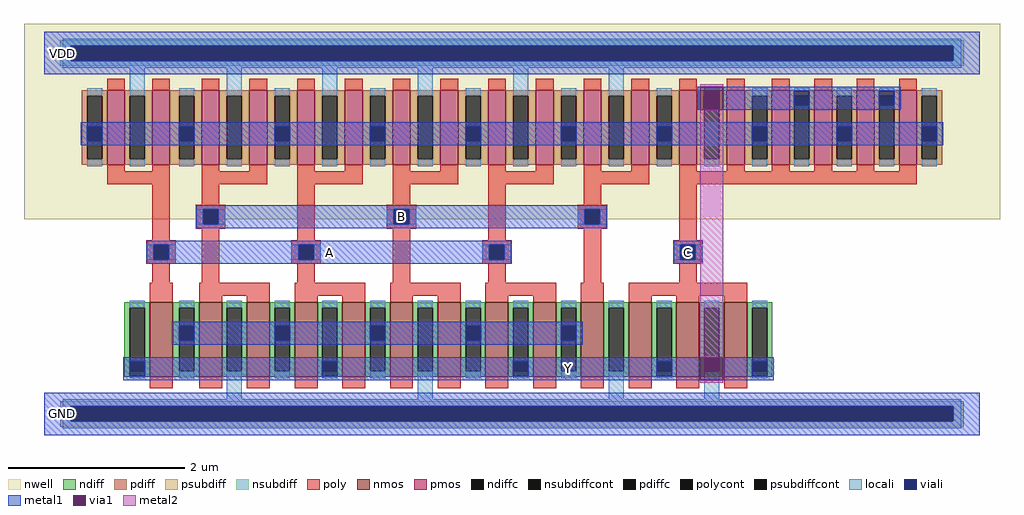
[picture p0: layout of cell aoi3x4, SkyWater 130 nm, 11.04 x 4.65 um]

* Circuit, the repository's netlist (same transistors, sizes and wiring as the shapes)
** sch_path: /foss/designs/aoi3x4.sch
.subckt aoi3x4 VDD GND A B C Y
*.PININFO VDD:B GND:B A:I B:I C:I Y:O
XM2 net2 A VDD VDD sky130_fd_pr__pfet_01v8 L=0.2 W=5.04 nf=6
XM3 net2 B VDD VDD sky130_fd_pr__pfet_01v8 L=0.2 W=5.04 nf=6
XM4 Y A net1 GND sky130_fd_pr__nfet_01v8 L=0.26 W=4.2 nf=5
XM5 Y C GND GND sky130_fd_pr__nfet_01v8 L=0.26 W=2.52 nf=3
XM1 Y C net2 VDD sky130_fd_pr__pfet_01v8 L=0.2 W=5.04 nf=6
XM6 net1 B GND GND sky130_fd_pr__nfet_01v8 L=0.26 W=4.2 nf=5
.ends

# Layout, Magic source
magic
tech sky130A
magscale 1 2
<< nwell >>
rect -46 440 2162 882
<< nmos >>
rect 238 84 290 252
rect 350 84 402 252
rect 458 84 510 252
rect 566 84 618 252
rect 674 84 726 252
rect 782 84 834 252
rect 890 84 942 252
rect 998 84 1050 252
rect 1106 84 1158 252
rect 1214 84 1266 252
rect 1322 84 1374 252
rect 1430 84 1482 252
rect 1538 84 1590 252
<< pmos >>
rect 142 564 182 732
rect 244 564 284 732
rect 356 564 396 732
rect 464 564 504 732
rect 572 564 612 732
rect 680 564 720 732
rect 788 564 828 732
rect 896 564 936 732
rect 1004 564 1044 732
rect 1112 564 1152 732
rect 1220 564 1260 732
rect 1328 564 1368 732
rect 1436 564 1476 732
rect 1544 564 1584 732
rect 1646 564 1686 732
rect 1742 564 1782 732
rect 1838 564 1878 732
rect 1934 564 1974 732
<< ndiff >>
rect 181 240 238 252
rect 181 96 193 240
rect 227 96 238 240
rect 181 84 238 96
rect 290 240 350 252
rect 290 96 305 240
rect 339 96 350 240
rect 290 84 350 96
rect 402 240 458 252
rect 402 96 413 240
rect 447 96 458 240
rect 402 84 458 96
rect 510 240 566 252
rect 510 96 521 240
rect 555 96 566 240
rect 510 84 566 96
rect 618 240 674 252
rect 618 96 629 240
rect 663 96 674 240
rect 618 84 674 96
rect 726 240 782 252
rect 726 96 737 240
rect 771 96 782 240
rect 726 84 782 96
rect 834 240 890 252
rect 834 96 845 240
rect 879 96 890 240
rect 834 84 890 96
rect 942 240 998 252
rect 942 96 953 240
rect 987 96 998 240
rect 942 84 998 96
rect 1050 240 1106 252
rect 1050 96 1061 240
rect 1095 96 1106 240
rect 1050 84 1106 96
rect 1158 240 1214 252
rect 1158 96 1169 240
rect 1203 96 1214 240
rect 1158 84 1214 96
rect 1266 240 1322 252
rect 1266 96 1277 240
rect 1311 96 1322 240
rect 1266 84 1322 96
rect 1374 240 1430 252
rect 1374 96 1385 240
rect 1419 96 1430 240
rect 1374 84 1430 96
rect 1482 240 1538 252
rect 1482 96 1493 240
rect 1527 96 1538 240
rect 1482 84 1538 96
rect 1590 240 1647 252
rect 1590 96 1601 240
rect 1635 96 1647 240
rect 1590 84 1647 96
<< pdiff >>
rect 85 720 142 732
rect 85 576 97 720
rect 131 576 142 720
rect 85 564 142 576
rect 182 720 244 732
rect 182 576 193 720
rect 227 576 244 720
rect 182 564 244 576
rect 284 720 356 732
rect 284 576 305 720
rect 339 576 356 720
rect 284 564 356 576
rect 396 720 464 732
rect 396 576 413 720
rect 447 576 464 720
rect 396 564 464 576
rect 504 720 572 732
rect 504 576 521 720
rect 555 576 572 720
rect 504 564 572 576
rect 612 720 680 732
rect 612 576 629 720
rect 663 576 680 720
rect 612 564 680 576
rect 720 720 788 732
rect 720 576 737 720
rect 771 576 788 720
rect 720 564 788 576
rect 828 720 896 732
rect 828 576 845 720
rect 879 576 896 720
rect 828 564 896 576
rect 936 720 1004 732
rect 936 576 953 720
rect 987 576 1004 720
rect 936 564 1004 576
rect 1044 720 1112 732
rect 1044 576 1061 720
rect 1095 576 1112 720
rect 1044 564 1112 576
rect 1152 720 1220 732
rect 1152 576 1169 720
rect 1203 576 1220 720
rect 1152 564 1220 576
rect 1260 720 1328 732
rect 1260 576 1277 720
rect 1311 576 1328 720
rect 1260 564 1328 576
rect 1368 720 1436 732
rect 1368 576 1385 720
rect 1419 576 1436 720
rect 1368 564 1436 576
rect 1476 720 1544 732
rect 1476 576 1493 720
rect 1527 576 1544 720
rect 1476 564 1544 576
rect 1584 720 1646 732
rect 1584 576 1601 720
rect 1635 576 1646 720
rect 1584 564 1646 576
rect 1686 720 1742 732
rect 1686 576 1697 720
rect 1731 576 1742 720
rect 1686 564 1742 576
rect 1782 720 1838 732
rect 1782 576 1793 720
rect 1827 576 1838 720
rect 1782 564 1838 576
rect 1878 720 1934 732
rect 1878 576 1889 720
rect 1923 576 1934 720
rect 1878 564 1934 576
rect 1974 720 2031 732
rect 1974 576 1985 720
rect 2019 576 2031 720
rect 1974 564 2031 576
<< ndiffc >>
rect 193 96 227 240
rect 305 96 339 240
rect 413 96 447 240
rect 521 96 555 240
rect 629 96 663 240
rect 737 96 771 240
rect 845 96 879 240
rect 953 96 987 240
rect 1061 96 1095 240
rect 1169 96 1203 240
rect 1277 96 1311 240
rect 1385 96 1419 240
rect 1493 96 1527 240
rect 1601 96 1635 240
<< pdiffc >>
rect 97 576 131 720
rect 193 576 227 720
rect 305 576 339 720
rect 413 576 447 720
rect 521 576 555 720
rect 629 576 663 720
rect 737 576 771 720
rect 845 576 879 720
rect 953 576 987 720
rect 1061 576 1095 720
rect 1169 576 1203 720
rect 1277 576 1311 720
rect 1385 576 1419 720
rect 1493 576 1527 720
rect 1601 576 1635 720
rect 1697 576 1731 720
rect 1793 576 1827 720
rect 1889 576 1923 720
rect 1985 576 2019 720
<< psubdiff >>
rect 36 17 2080 29
rect 36 -17 60 17
rect 2056 -17 2080 17
rect 36 -29 2080 -17
<< nsubdiff >>
rect 36 833 2080 845
rect 36 799 60 833
rect 2056 799 2080 833
rect 36 787 2080 799
<< psubdiffcont >>
rect 60 -17 2056 17
<< nsubdiffcont >>
rect 60 799 2056 833
<< poly >>
rect 142 732 182 758
rect 244 732 284 758
rect 356 732 396 758
rect 464 732 504 758
rect 572 732 612 758
rect 680 732 720 758
rect 788 732 828 758
rect 896 732 936 758
rect 1004 732 1044 758
rect 1112 732 1152 758
rect 1220 732 1260 758
rect 1328 732 1368 758
rect 1436 732 1476 758
rect 1544 732 1584 758
rect 1646 732 1686 758
rect 1742 732 1782 758
rect 1838 732 1878 758
rect 1934 732 1974 758
rect 142 549 182 564
rect 244 549 284 564
rect 142 519 284 549
rect 244 393 284 519
rect 356 549 396 564
rect 464 549 504 564
rect 356 519 504 549
rect 572 549 612 564
rect 680 549 720 564
rect 572 519 720 549
rect 788 549 828 564
rect 896 549 936 564
rect 788 519 936 549
rect 1004 549 1044 564
rect 1112 549 1152 564
rect 1004 519 1152 549
rect 1220 549 1260 564
rect 1328 549 1368 564
rect 1220 519 1368 549
rect 1436 549 1476 564
rect 1544 549 1584 564
rect 1646 549 1686 564
rect 1742 549 1782 564
rect 1838 549 1878 564
rect 1934 549 1974 564
rect 1436 519 1974 549
rect 356 473 396 519
rect 343 463 409 473
rect 343 429 359 463
rect 393 429 409 463
rect 343 419 409 429
rect 231 383 297 393
rect 231 349 247 383
rect 281 349 297 383
rect 231 339 297 349
rect 244 297 284 339
rect 356 297 396 419
rect 572 393 612 519
rect 788 473 828 519
rect 775 463 841 473
rect 775 429 791 463
rect 825 429 841 463
rect 775 419 841 429
rect 559 383 625 393
rect 559 349 575 383
rect 609 349 625 383
rect 559 339 625 349
rect 572 297 612 339
rect 788 297 828 419
rect 1004 393 1044 519
rect 1220 473 1260 519
rect 1207 463 1273 473
rect 1207 429 1223 463
rect 1257 429 1273 463
rect 1207 419 1273 429
rect 991 383 1057 393
rect 991 349 1007 383
rect 1041 349 1057 383
rect 991 339 1057 349
rect 1004 297 1044 339
rect 1220 297 1260 419
rect 1436 393 1476 519
rect 1423 383 1489 393
rect 1423 349 1439 383
rect 1473 349 1489 383
rect 1423 339 1489 349
rect 1436 297 1476 339
rect 238 252 290 297
rect 350 267 510 297
rect 350 252 402 267
rect 458 252 510 267
rect 566 267 726 297
rect 566 252 618 267
rect 674 252 726 267
rect 782 267 942 297
rect 782 252 834 267
rect 890 252 942 267
rect 998 267 1158 297
rect 998 252 1050 267
rect 1106 252 1158 267
rect 1214 252 1266 297
rect 1322 267 1590 297
rect 1322 252 1374 267
rect 1430 252 1482 267
rect 1538 252 1590 267
rect 238 58 290 84
rect 350 58 402 84
rect 458 58 510 84
rect 566 58 618 84
rect 674 58 726 84
rect 782 58 834 84
rect 890 58 942 84
rect 998 58 1050 84
rect 1106 58 1158 84
rect 1214 58 1266 84
rect 1322 58 1374 84
rect 1430 58 1482 84
rect 1538 58 1590 84
<< polycont >>
rect 359 429 393 463
rect 247 349 281 383
rect 791 429 825 463
rect 575 349 609 383
rect 1223 429 1257 463
rect 1007 349 1041 383
rect 1439 349 1473 383
<< locali >>
rect 42 833 2074 849
rect 42 799 60 833
rect 2056 799 2074 833
rect 42 783 2074 799
rect 97 720 131 736
rect 97 560 131 576
rect 193 720 227 783
rect 193 560 227 576
rect 305 720 339 736
rect 305 560 339 576
rect 413 720 447 783
rect 413 560 447 576
rect 521 720 555 736
rect 521 560 555 576
rect 629 720 663 783
rect 629 560 663 576
rect 737 720 771 736
rect 737 560 771 576
rect 845 720 879 783
rect 845 560 879 576
rect 953 720 987 736
rect 953 560 987 576
rect 1061 720 1095 783
rect 1061 560 1095 576
rect 1169 720 1203 736
rect 1169 560 1203 576
rect 1277 720 1311 783
rect 1277 560 1311 576
rect 1385 720 1419 736
rect 1385 560 1419 576
rect 1493 731 1527 736
rect 1493 560 1527 576
rect 1601 720 1635 736
rect 1601 560 1635 576
rect 1697 731 1731 736
rect 1697 560 1731 576
rect 1793 720 1827 736
rect 1793 560 1827 576
rect 1889 731 1923 736
rect 1889 560 1923 576
rect 1985 720 2019 736
rect 1985 560 2019 576
rect 343 429 359 463
rect 393 429 409 463
rect 775 429 791 463
rect 825 429 841 463
rect 1207 429 1223 463
rect 1257 429 1273 463
rect 231 349 247 383
rect 281 349 297 383
rect 559 349 575 383
rect 609 349 625 383
rect 991 349 1007 383
rect 1041 349 1057 383
rect 1423 349 1439 383
rect 1473 349 1489 383
rect 193 240 227 256
rect 193 80 227 85
rect 305 240 339 256
rect 305 80 339 96
rect 413 240 447 256
rect 413 33 447 96
rect 521 240 555 256
rect 521 80 555 96
rect 629 240 663 256
rect 629 80 663 85
rect 737 240 771 256
rect 737 80 771 96
rect 845 240 879 256
rect 845 33 879 96
rect 953 240 987 256
rect 953 80 987 96
rect 1061 240 1095 256
rect 1061 80 1095 85
rect 1169 240 1203 256
rect 1169 80 1203 96
rect 1277 240 1311 256
rect 1277 33 1311 96
rect 1385 240 1419 256
rect 1385 80 1419 85
rect 1493 240 1527 256
rect 1493 33 1527 96
rect 1601 240 1635 256
rect 1601 80 1635 85
rect 42 17 2074 33
rect 42 -17 60 17
rect 2056 -17 2074 17
rect 42 -33 2074 -17
<< viali >>
rect 60 799 2056 833
rect 97 617 131 651
rect 305 617 339 651
rect 521 617 555 651
rect 737 617 771 651
rect 953 617 987 651
rect 1169 617 1203 651
rect 1385 617 1419 651
rect 1493 720 1527 731
rect 1493 697 1527 720
rect 1601 617 1635 651
rect 1697 720 1731 731
rect 1697 697 1731 720
rect 1793 617 1827 651
rect 1889 720 1923 731
rect 1889 697 1923 720
rect 1985 617 2019 651
rect 359 429 393 463
rect 791 429 825 463
rect 1223 429 1257 463
rect 247 349 281 383
rect 575 349 609 383
rect 1007 349 1041 383
rect 1439 349 1473 383
rect 193 96 227 119
rect 193 85 227 96
rect 305 165 339 199
rect 521 165 555 199
rect 629 96 663 119
rect 629 85 663 96
rect 737 165 771 199
rect 953 165 987 199
rect 1061 96 1095 119
rect 1061 85 1095 96
rect 1169 165 1203 199
rect 1385 96 1419 119
rect 1385 85 1419 96
rect 1601 96 1635 119
rect 1601 85 1635 96
rect 60 -17 2056 17
<< metal1 >>
rect 0 833 2116 864
rect 0 799 60 833
rect 2056 799 2116 833
rect 0 768 2116 799
rect 1478 688 1484 740
rect 1536 731 1938 740
rect 1536 697 1697 731
rect 1731 697 1889 731
rect 1923 697 1938 731
rect 1536 688 1938 697
rect 82 651 2034 660
rect 82 617 97 651
rect 131 617 305 651
rect 339 617 521 651
rect 555 617 737 651
rect 771 617 953 651
rect 987 617 1169 651
rect 1203 617 1385 651
rect 1419 617 1601 651
rect 1635 617 1793 651
rect 1827 617 1985 651
rect 2019 617 2034 651
rect 82 608 2034 617
rect 344 463 1272 472
rect 344 429 359 463
rect 393 429 791 463
rect 825 429 1223 463
rect 1257 429 1272 463
rect 344 420 1272 429
rect 232 383 1056 392
rect 232 349 247 383
rect 281 349 575 383
rect 609 349 1007 383
rect 1041 349 1056 383
rect 232 340 1056 349
rect 1424 383 1488 392
rect 1424 349 1439 383
rect 1473 349 1488 383
rect 1424 340 1488 349
rect 290 199 1218 208
rect 290 165 305 199
rect 339 165 521 199
rect 555 165 737 199
rect 771 165 953 199
rect 987 165 1169 199
rect 1203 165 1218 199
rect 290 156 1218 165
rect 178 119 1484 128
rect 178 85 193 119
rect 227 85 629 119
rect 663 85 1061 119
rect 1095 85 1385 119
rect 1419 85 1484 119
rect 178 76 1484 85
rect 1536 119 1650 128
rect 1536 85 1601 119
rect 1635 85 1650 119
rect 1536 76 1650 85
rect 0 17 2116 48
rect 0 -17 60 17
rect 2056 -17 2116 17
rect 0 -48 2116 -17
<< via1 >>
rect 1484 731 1536 740
rect 1484 697 1493 731
rect 1493 697 1527 731
rect 1527 697 1536 731
rect 1484 688 1536 697
rect 1484 76 1536 128
<< metal2 >>
rect 1484 740 1536 746
rect 1484 128 1536 688
rect 1484 70 1536 76
<< labels >>
rlabel metal1 10 780 70 852 0 VDD
port 1 nsew
rlabel metal1 10 -36 70 36 0 GND
port 2 nsew
rlabel metal1 623 343 669 389 0 A
port 3 nsew
rlabel metal1 785 423 831 469 0 B
port 4 nsew
rlabel metal1 1433 343 1479 389 0 C
port 5 nsew
rlabel metal1 1163 79 1209 125 0 Y
port 6 nsew
<< properties >>
string FIXED_BBOX 0 0 2116 816
<< end >>
